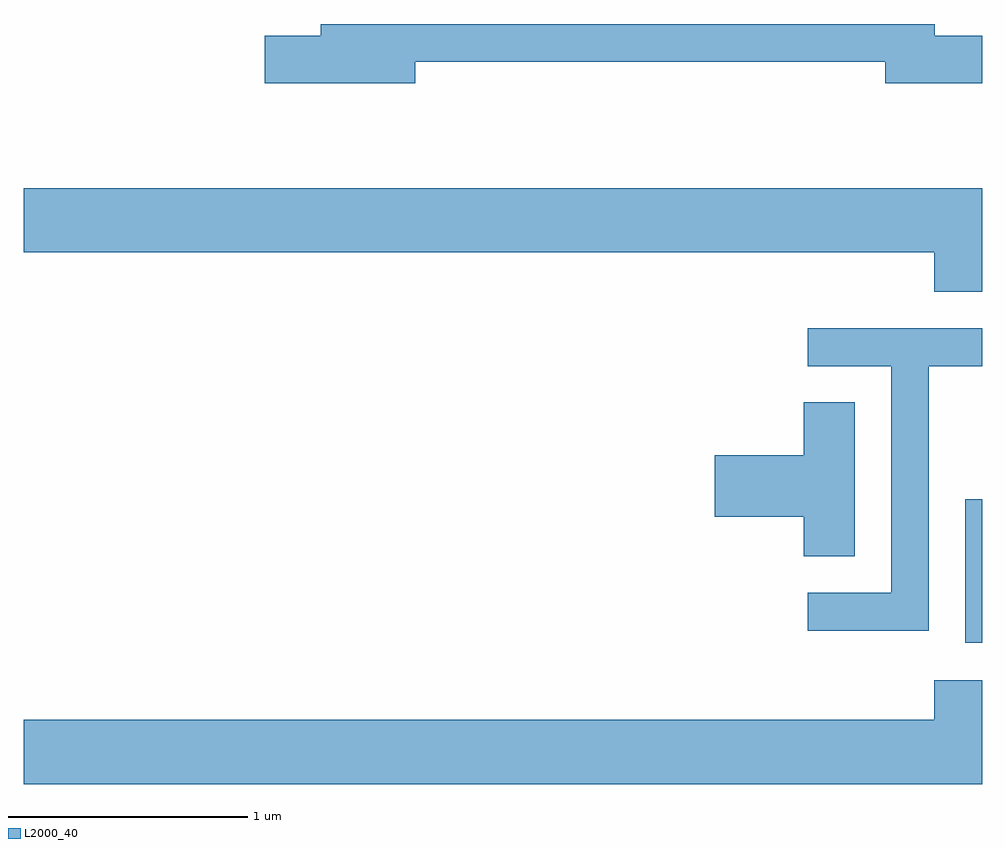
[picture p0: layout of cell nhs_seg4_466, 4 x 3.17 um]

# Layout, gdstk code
import gdstk
lib = gdstk.Library(unit=1e-6, precision=1e-09)
def R(c, l, rs):  # rectangles x0, y0, x1, y1
    for r in rs: c.add(gdstk.rectangle(r[:2], r[2:], *l))
def P(c, l, *ps):  # polygons
    for p in ps: c.add(gdstk.Polygon(p, *l))
L2000_40 = (2000, 40)

nhs_seg4_466 = lib.new_cell('nhs_seg4_466')
R(nhs_seg4_466, L2000_40, [(201.541,1370.806,201.611,1371.404)])
P(nhs_seg4_466, L2000_40, [(199.244,1373.231),(201.206,1373.231),(201.206,1373.141),(201.611,1373.141),(201.611,1373.339),(201.414,1373.339),(201.414,1373.389),(198.851,1373.389),(198.851,1373.339),(198.616,1373.339),(198.616,1373.141),(199.244,1373.141)],
  [(201.611,1372.704),(197.611,1372.704),(197.611,1372.436),(201.411,1372.436),(201.411,1372.271),(201.611,1372.271)],
  [(201.389,1371.961),(201.611,1371.961),(201.611,1372.119),(200.883,1372.119),(200.883,1371.961),(201.231,1371.961),(201.231,1371.014),(200.883,1371.014),(200.883,1370.856),(201.389,1370.856)],
  [(201.079,1371.809),(200.866,1371.809),(200.866,1371.589),(200.496,1371.589),(200.496,1371.331),(200.866,1371.331),(200.866,1371.166),(201.079,1371.166)],
  [(201.611,1370.649),(201.411,1370.649),(201.411,1370.484),(197.611,1370.484),(197.611,1370.216),(201.611,1370.216)])

lib.write_gds('nhs_seg4_466.gds')
